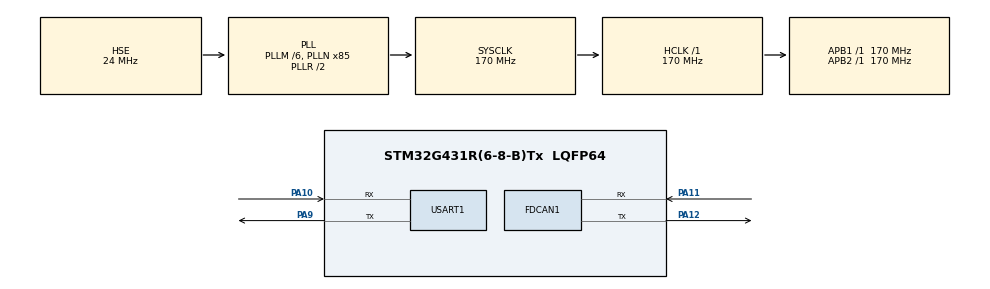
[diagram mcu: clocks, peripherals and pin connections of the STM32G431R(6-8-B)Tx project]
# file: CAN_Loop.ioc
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FDCAN1.CalculateBaudRateNominal=500000
FDCAN1.CalculateTimeBitNominal=2000
FDCAN1.CalculateTimeQuantumNominal=83.33333333333333
FDCAN1.DataSyncJumpWidth=1
FDCAN1.DataTimeSeg1=1
FDCAN1.DataTimeSeg2=1
FDCAN1.ExtFiltersNbr=0
FDCAN1.Mode=FDCAN_MODE_NORMAL
FDCAN1.NominalPrescaler=2
FDCAN1.NominalSyncJumpWidth=1
FDCAN1.NominalTimeSeg1=18
FDCAN1.NominalTimeSeg2=5
FDCAN1.StdFiltersNbr=0
Mcu.Family=STM32G4
Mcu.Name=STM32G431R(6-8-B)Tx
Mcu.Package=LQFP64
NVIC.FDCAN1_IT0_IRQn=true\:0\:0\:false\:false\:true\:true\:true\:true
NVIC.PriorityGroup=NVIC_PRIORITYGROUP_4
NVIC.USART1_IRQn=true\:0\:0\:false\:false\:true\:true\:true\:true
PA10.Mode=Asynchronous
PA10.Signal=USART1_RX
PA11.Mode=FDCAN_Activate
PA11.Signal=FDCAN1_RX
PA12.Mode=FDCAN_Activate
PA12.Signal=FDCAN1_TX
PA13.Mode=Serial_Wire
PA13.Signal=SYS_JTMS-SWDIO
PA14.Mode=Serial_Wire
PA14.Signal=SYS_JTCK-SWCLK
PA9.Mode=Asynchronous
PA9.Signal=USART1_TX
PF0-OSC_IN.Mode=HSE-External-Oscillator
PF0-OSC_IN.Signal=RCC_OSC_IN
PF1-OSC_OUT.Mode=HSE-External-Oscillator
PF1-OSC_OUT.Signal=RCC_OSC_OUT
ProjectManager.HeapSize=0x400
ProjectManager.StackSize=0x800
ProjectManager.TargetToolchain=MDK-ARM V5.32
RCC.ADC12Freq_Value=170000000
RCC.AHBFreq_Value=170000000
RCC.APB1Freq_Value=170000000
RCC.APB1TimFreq_Value=170000000
RCC.APB2Freq_Value=170000000
RCC.APB2TimFreq_Value=170000000
RCC.CortexFreq_Value=170000000
RCC.EXTERNAL_CLOCK_VALUE=12288000
RCC.FDCANCLockSelection=RCC_FDCANCLKSOURCE_HSE
RCC.HCLKFreq_Value=170000000
RCC.HSE_VALUE=24000000
RCC.HSI48_VALUE=48000000
RCC.HSI_VALUE=16000000
RCC.LSE_VALUE=32768
RCC.PLLM=RCC_PLLM_DIV6
RCC.PLLN=85
RCC.PLLSourceVirtual=RCC_PLLSOURCE_HSE
RCC.SYSCLKFreq_VALUE=170000000
RCC.SYSCLKSource=RCC_SYSCLKSOURCE_PLLCLK
RCC.USBFreq_Value=170000000
RCC.VCOOutputFreq_Value=340000000
USART1.VirtualMode-Asynchronous=VM_ASYNC
VP_SYS_VS_DBSignals.Mode=DisableDeadBatterySignals
board=custom

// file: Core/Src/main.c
/* USER CODE BEGIN Header */
/**
  ******************************************************************************
  * @file           : main.c
  * @brief          : Main program body
  ******************************************************************************
  * @attention
  *
  * Copyright (c) 2023 STMicroelectronics.
  * All rights reserved.
  *
  * This software is licensed under terms that can be found in the LICENSE file
  * in the root directory of this software component.
  * If no LICENSE file comes with this software, it is provided AS-IS.
  *
  ******************************************************************************
  */
/* USER CODE END Header */
#include "main.h"
#include "fdcan.h"
#include "usart.h"
#include "gpio.h"

/* USER CODE BEGIN Includes */
#include "protocol.h"
#include <stdio.h>
#include <string.h>
#include <stdlib.h>
/* USER CODE END Includes */

/* USER CODE BEGIN PTD */
FDCAN_RxHeaderTypeDef RxHeader;
FDCAN_TxHeaderTypeDef TxHeader;
uint8_t RxData[8];
uint8_t TxData[8];
/* USER CODE END PTD */

void SystemClock_Config(void);

/* USER CODE BEGIN 0 */
uint8_t chose, send;
int8_t temp; // current temperature returned, in Centigrade
float position; // current position returned, in RAD for output shaft
float speed; // current speed returned, in RPM for output shaft
float torque; // current torque returned, in Amper, to convert which to N.m for output shaft, multiply by TORQUE_CONSTANT*GEAR_RATIO
/* USER CODE END 0 */

int main(void)
{

  /* MCU Configuration--------------------------------------------------------*/

  /* Reset of all peripherals, Initializes the Flash interface and the Systick. */
  HAL_Init();

  /* Configure the system clock */
  SystemClock_Config();

  /* Initialize all configured peripherals */
  MX_GPIO_Init();
  MX_FDCAN1_Init();
  MX_USART1_UART_Init();
  /* USER CODE BEGIN 2 */
	FDCAN1_Config();
  /* USER CODE END 2 */
  /* Infinite loop */
  while (1)
  {
    /* USER CODE BEGIN 3 */
		send = Unpack(g_usart_rx_buf, TxData);
		HAL_Delay(5);
		if(send)
		{
			send = 0;
			g_usart_rx_sta = 0;
			g_usart_rx_buf[0] = 0;

			SendCmd2Motor(TxData);
			HAL_Delay(5);
			switch(RxData[0])
			{
				case 0x91:printf("�������\r\n");break;

				case 0x92:printf("���ֹͣ\r\n");break;

				case 0x93:MCResTorqueControl(RxData, &temp, &position, &speed, &torque);chose = 1;break;

				case 0x94:MCResSpeedControl(RxData, &temp, &position, &speed, &torque);chose = 1;break;

				case 0x95:MCResPositionControl(RxData, &temp, &position, &speed, &torque);chose = 1;break;

				default: break;
			}
			switch(chose)
			{
				case 1:   chose = 0;
									printf("temp: %d  ", temp);
									printf("position: %.2f  ", position);
									printf("speed: %.2f  ", speed);
									printf("torque: %.2f\r\n", torque);break;
				default: break;
			}
		}
  }
  /* USER CODE END 3 */
}

void SystemClock_Config(void)
{
  RCC_OscInitTypeDef RCC_OscInitStruct = {0};
  RCC_ClkInitTypeDef RCC_ClkInitStruct = {0};

  /** Configure the main internal regulator output voltage
  */
  HAL_PWREx_ControlVoltageScaling(PWR_REGULATOR_VOLTAGE_SCALE1_BOOST);

  /** Initializes the RCC Oscillators according to the specified parameters
  * in the RCC_OscInitTypeDef structure.
  */
  RCC_OscInitStruct.OscillatorType = RCC_OSCILLATORTYPE_HSE;
  RCC_OscInitStruct.HSEState = RCC_HSE_ON;
  RCC_OscInitStruct.PLL.PLLState = RCC_PLL_ON;
  RCC_OscInitStruct.PLL.PLLSource = RCC_PLLSOURCE_HSE;
  RCC_OscInitStruct.PLL.PLLM = RCC_PLLM_DIV6;
  RCC_OscInitStruct.PLL.PLLN = 85;
  RCC_OscInitStruct.PLL.PLLP = RCC_PLLP_DIV2;
  RCC_OscInitStruct.PLL.PLLQ = RCC_PLLQ_DIV2;
  RCC_OscInitStruct.PLL.PLLR = RCC_PLLR_DIV2;
  if (HAL_RCC_OscConfig(&RCC_OscInitStruct) != HAL_OK)
  {
    Error_Handler();
  }

  /** Initializes the CPU, AHB and APB buses clocks
  */
  RCC_ClkInitStruct.ClockType = RCC_CLOCKTYPE_HCLK|RCC_CLOCKTYPE_SYSCLK
                              |RCC_CLOCKTYPE_PCLK1|RCC_CLOCKTYPE_PCLK2;
  RCC_ClkInitStruct.SYSCLKSource = RCC_SYSCLKSOURCE_PLLCLK;
  RCC_ClkInitStruct.AHBCLKDivider = RCC_SYSCLK_DIV1;
  RCC_ClkInitStruct.APB1CLKDivider = RCC_HCLK_DIV1;
  RCC_ClkInitStruct.APB2CLKDivider = RCC_HCLK_DIV1;

  if (HAL_RCC_ClockConfig(&RCC_ClkInitStruct, FLASH_LATENCY_4) != HAL_OK)
  {
    Error_Handler();
  }
}

/* USER CODE BEGIN 4 */

uint8_t Unpack(uint8_t * buf, uint8_t * Tx)
{
		uint8_t data_len, len, n;
		uint16_t data[3];
		char str[10];
	  char m[] = " ";					//Define a space variable

		len = sizeof(g_usart_rx_buf) / sizeof(g_usart_rx_buf [0]);
		for(n = 0; n<len; n++)
		{
		 str[n] = g_usart_rx_buf[n];
		}

		char *p = strtok(str,m);//Take the pointer of str and m

		while(p)  							//Traverse the output
		{
			data[data_len] = atoi(p);
			p = strtok(NULL,m);		//Point to the next one
			data_len++;
		}

		switch(data[0])
		{
			case 5:	MCReqPositionControl(Tx, data[1], data[2]);break;

			case 4: MCReqSpeedControl(Tx, data[1], data[2]);break;

			case 3: MCReqTorqueControl(Tx, data[1], data[2]);break;

			case 2: MCReqStopMotor(Tx);break;

			case 1: MCReqStartMotor(Tx);break;

			default: g_usart_rx_sta = 0; return 0;
		}

		return 1;
}

/* USER CODE END 4 */

void Error_Handler(void)
{
  __disable_irq();
  while (1)
  {
  }
}
